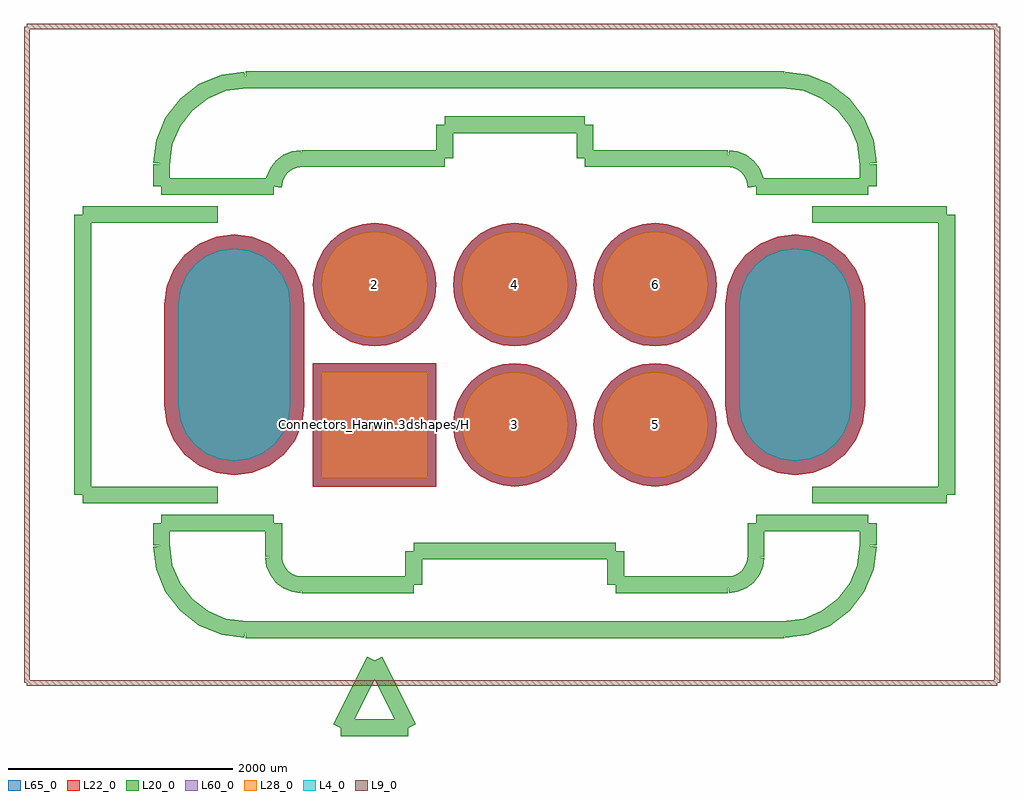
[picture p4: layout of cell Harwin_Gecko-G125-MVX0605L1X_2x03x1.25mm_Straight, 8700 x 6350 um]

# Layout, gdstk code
import gdstk
lib = gdstk.Library(unit=1e-6, precision=1e-09)
def R(c, l, rs):  # rectangles x0, y0, x1, y1
    for r in rs: c.add(gdstk.rectangle(r[:2], r[2:], *l))
def P(c, l, *ps):  # polygons
    for p in ps: c.add(gdstk.Polygon(p, *l))
L4_0 = (4, 0)
L9_0 = (9, 0)
L20_0 = (20, 0)
L22_0 = (22, 0)
L28_0 = (28, 0)
L60_0 = (60, 0)
L65_0 = (65, 0)

harwin_gecko_g125_mvx060 = lib.new_cell('Harwin_Gecko-G125-MVX0605L1X_2x03x1.25mm_Straight')
P(harwin_gecko_g125_mvx060, L4_0, [(3750,-325),(3879.41,-307.963),(4000,-258.013),(4103.553,-178.553),(4183.013,-75),(4232.963,45.59),(4250,175),(4250,1075),(4232.963,1204.41),(4183.013,1325),(4103.553,1428.553),(4000,1508.013),(3879.41,1557.963),(3750,1575),(3620.59,1557.963),(3500,1508.013),(3396.447,1428.553),(3316.987,1325),(3267.037,1204.41),(3250,1075),(3250,175),(3267.037,45.59),(3316.987,-75),(3396.447,-178.553),(3500,-258.013),(3620.59,-307.963)],
  [(-1250,-325),(-1120.59,-307.963),(-1000,-258.013),(-896.447,-178.553),(-816.987,-75),(-767.037,45.59),(-750,175),(-750,1075),(-767.037,1204.41),(-816.987,1325),(-896.447,1428.553),(-1000,1508.013),(-1120.59,1557.963),(-1250,1575),(-1379.41,1557.963),(-1500,1508.013),(-1603.553,1428.553),(-1683.013,1325),(-1732.963,1204.41),(-1750,1075),(-1750,175),(-1732.963,45.59),(-1683.013,-75),(-1603.553,-178.553),(-1500,-258.013),(-1379.41,-307.963)])
R(harwin_gecko_g125_mvx060, L22_0, [(-550,-550,550,550)])
P(harwin_gecko_g125_mvx060, L22_0, [(3750,-450),(3911.762,-428.704),(4062.5,-366.266),(4191.942,-266.942),(4291.266,-137.5),(4353.704,13.238),(4375,175),(4375,1075),(4353.704,1236.762),(4291.266,1387.5),(4191.942,1516.942),(4062.5,1616.266),(3911.762,1678.704),(3750,1700),(3588.238,1678.704),(3437.5,1616.266),(3308.058,1516.942),(3208.734,1387.5),(3146.296,1236.762),(3125,1075),(3125,175),(3146.296,13.238),(3208.734,-137.5),(3308.058,-266.942),(3437.5,-366.266),(3588.238,-428.704)],
  [(-1250,-450),(-1088.238,-428.704),(-937.5,-366.266),(-808.058,-266.942),(-708.734,-137.5),(-646.296,13.238),(-625,175),(-625,1075),(-646.296,1236.762),(-708.734,1387.5),(-808.058,1516.942),(-937.5,1616.266),(-1088.238,1678.704),(-1250,1700),(-1411.762,1678.704),(-1562.5,1616.266),(-1691.942,1516.942),(-1791.266,1387.5),(-1853.704,1236.762),(-1875,1075),(-1875,175),(-1853.704,13.238),(-1791.266,-137.5),(-1691.942,-266.942),(-1562.5,-366.266),(-1411.762,-428.704)],
  [(3050,1250),(3039.432,1357.3),(3008.134,1460.476),(2957.308,1555.564),(2888.909,1638.909),(2805.564,1707.308),(2710.476,1758.134),(2607.3,1789.432),(2500,1800),(2392.7,1789.432),(2289.524,1758.134),(2194.436,1707.308),(2111.091,1638.909),(2042.692,1555.564),(1991.866,1460.476),(1960.568,1357.3),(1950,1250),(1960.568,1142.7),(1991.866,1039.524),(2042.692,944.436),(2111.091,861.091),(2194.436,792.692),(2289.524,741.866),(2392.7,710.568),(2500,700),(2607.3,710.568),(2710.476,741.866),(2805.564,792.692),(2888.909,861.091),(2957.308,944.436),(3008.134,1039.524),(3039.432,1142.7)],
  [(1800,1250),(1789.432,1357.3),(1758.134,1460.476),(1707.308,1555.564),(1638.909,1638.909),(1555.564,1707.308),(1460.476,1758.134),(1357.3,1789.432),(1250,1800),(1142.7,1789.432),(1039.524,1758.134),(944.436,1707.308),(861.091,1638.909),(792.692,1555.564),(741.866,1460.476),(710.568,1357.3),(700,1250),(710.568,1142.7),(741.866,1039.524),(792.692,944.436),(861.091,861.091),(944.436,792.692),(1039.524,741.866),(1142.7,710.568),(1250,700),(1357.3,710.568),(1460.476,741.866),(1555.564,792.692),(1638.909,861.091),(1707.308,944.436),(1758.134,1039.524),(1789.432,1142.7)],
  [(550,1250),(539.432,1357.3),(508.134,1460.476),(457.308,1555.564),(388.909,1638.909),(305.564,1707.308),(210.476,1758.134),(107.3,1789.432),(0,1800),(-107.3,1789.432),(-210.476,1758.134),(-305.564,1707.308),(-388.909,1638.909),(-457.308,1555.564),(-508.134,1460.476),(-539.432,1357.3),(-550,1250),(-539.432,1142.7),(-508.134,1039.524),(-457.308,944.436),(-388.909,861.091),(-305.564,792.692),(-210.476,741.866),(-107.3,710.568),(0,700),(107.3,710.568),(210.476,741.866),(305.564,792.692),(388.909,861.091),(457.308,944.436),(508.134,1039.524),(539.432,1142.7)],
  [(3050,0),(3039.432,107.3),(3008.134,210.476),(2957.308,305.564),(2888.909,388.909),(2805.564,457.308),(2710.476,508.134),(2607.3,539.432),(2500,550),(2392.7,539.432),(2289.524,508.134),(2194.436,457.308),(2111.091,388.909),(2042.692,305.564),(1991.866,210.476),(1960.568,107.3),(1950,0),(1960.568,-107.3),(1991.866,-210.476),(2042.692,-305.564),(2111.091,-388.909),(2194.436,-457.308),(2289.524,-508.134),(2392.7,-539.432),(2500,-550),(2607.3,-539.432),(2710.476,-508.134),(2805.564,-457.308),(2888.909,-388.909),(2957.308,-305.564),(3008.134,-210.476),(3039.432,-107.3)],
  [(1800,0),(1789.432,107.3),(1758.134,210.476),(1707.308,305.564),(1638.909,388.909),(1555.564,457.308),(1460.476,508.134),(1357.3,539.432),(1250,550),(1142.7,539.432),(1039.524,508.134),(944.436,457.308),(861.091,388.909),(792.692,305.564),(741.866,210.476),(710.568,107.3),(700,0),(710.568,-107.3),(741.866,-210.476),(792.692,-305.564),(861.091,-388.909),(944.436,-457.308),(1039.524,-508.134),(1142.7,-539.432),(1250,-550),(1357.3,-539.432),(1460.476,-508.134),(1555.564,-457.308),(1638.909,-388.909),(1707.308,-305.564),(1758.134,-210.476),(1789.432,-107.3)])
R(harwin_gecko_g125_mvx060, L28_0, [(-475,-475,475,475)])
P(harwin_gecko_g125_mvx060, L28_0, [(2975,1250),(2965.873,1342.668),(2938.843,1431.775),(2894.948,1513.896),(2835.876,1585.876),(2763.896,1644.948),(2681.775,1688.843),(2592.668,1715.873),(2500,1725),(2407.332,1715.873),(2318.225,1688.843),(2236.104,1644.948),(2164.124,1585.876),(2105.052,1513.896),(2061.157,1431.775),(2034.127,1342.668),(2025,1250),(2034.127,1157.332),(2061.157,1068.225),(2105.052,986.104),(2164.124,914.124),(2236.104,855.052),(2318.225,811.157),(2407.332,784.127),(2500,775),(2592.668,784.127),(2681.775,811.157),(2763.896,855.052),(2835.876,914.124),(2894.948,986.104),(2938.843,1068.225),(2965.873,1157.332)],
  [(1725,1250),(1715.873,1342.668),(1688.843,1431.775),(1644.948,1513.896),(1585.876,1585.876),(1513.896,1644.948),(1431.775,1688.843),(1342.668,1715.873),(1250,1725),(1157.332,1715.873),(1068.225,1688.843),(986.104,1644.948),(914.124,1585.876),(855.052,1513.896),(811.157,1431.775),(784.127,1342.668),(775,1250),(784.127,1157.332),(811.157,1068.225),(855.052,986.104),(914.124,914.124),(986.104,855.052),(1068.225,811.157),(1157.332,784.127),(1250,775),(1342.668,784.127),(1431.775,811.157),(1513.896,855.052),(1585.876,914.124),(1644.948,986.104),(1688.843,1068.225),(1715.873,1157.332)],
  [(475,1250),(465.873,1342.668),(438.843,1431.775),(394.948,1513.896),(335.876,1585.876),(263.896,1644.948),(181.775,1688.843),(92.668,1715.873),(0,1725),(-92.668,1715.873),(-181.775,1688.843),(-263.896,1644.948),(-335.876,1585.876),(-394.948,1513.896),(-438.843,1431.775),(-465.873,1342.668),(-475,1250),(-465.873,1157.332),(-438.843,1068.225),(-394.948,986.104),(-335.876,914.124),(-263.896,855.052),(-181.775,811.157),(-92.668,784.127),(0,775),(92.668,784.127),(181.775,811.157),(263.896,855.052),(335.876,914.124),(394.948,986.104),(438.843,1068.225),(465.873,1157.332)],
  [(2975,0),(2965.873,92.668),(2938.843,181.775),(2894.948,263.896),(2835.876,335.876),(2763.896,394.948),(2681.775,438.843),(2592.668,465.873),(2500,475),(2407.332,465.873),(2318.225,438.843),(2236.104,394.948),(2164.124,335.876),(2105.052,263.896),(2061.157,181.775),(2034.127,92.668),(2025,0),(2034.127,-92.668),(2061.157,-181.775),(2105.052,-263.896),(2164.124,-335.876),(2236.104,-394.948),(2318.225,-438.843),(2407.332,-465.873),(2500,-475),(2592.668,-465.873),(2681.775,-438.843),(2763.896,-394.948),(2835.876,-335.876),(2894.948,-263.896),(2938.843,-181.775),(2965.873,-92.668)],
  [(1725,0),(1715.873,92.668),(1688.843,181.775),(1644.948,263.896),(1585.876,335.876),(1513.896,394.948),(1431.775,438.843),(1342.668,465.873),(1250,475),(1157.332,465.873),(1068.225,438.843),(986.104,394.948),(914.124,335.876),(855.052,263.896),(811.157,181.775),(784.127,92.668),(775,0),(784.127,-92.668),(811.157,-181.775),(855.052,-263.896),(914.124,-335.876),(986.104,-394.948),(1068.225,-438.843),(1157.332,-465.873),(1250,-475),(1342.668,-465.873),(1431.775,-438.843),(1513.896,-394.948),(1585.876,-335.876),(1644.948,-263.896),(1688.843,-181.775),(1715.873,-92.668)])
R(harwin_gecko_g125_mvx060, L60_0, [(-475,-475,475,475)])
P(harwin_gecko_g125_mvx060, L60_0, [(2975,1250),(2965.873,1342.668),(2938.843,1431.775),(2894.948,1513.896),(2835.876,1585.876),(2763.896,1644.948),(2681.775,1688.843),(2592.668,1715.873),(2500,1725),(2407.332,1715.873),(2318.225,1688.843),(2236.104,1644.948),(2164.124,1585.876),(2105.052,1513.896),(2061.157,1431.775),(2034.127,1342.668),(2025,1250),(2034.127,1157.332),(2061.157,1068.225),(2105.052,986.104),(2164.124,914.124),(2236.104,855.052),(2318.225,811.157),(2407.332,784.127),(2500,775),(2592.668,784.127),(2681.775,811.157),(2763.896,855.052),(2835.876,914.124),(2894.948,986.104),(2938.843,1068.225),(2965.873,1157.332)],
  [(1725,1250),(1715.873,1342.668),(1688.843,1431.775),(1644.948,1513.896),(1585.876,1585.876),(1513.896,1644.948),(1431.775,1688.843),(1342.668,1715.873),(1250,1725),(1157.332,1715.873),(1068.225,1688.843),(986.104,1644.948),(914.124,1585.876),(855.052,1513.896),(811.157,1431.775),(784.127,1342.668),(775,1250),(784.127,1157.332),(811.157,1068.225),(855.052,986.104),(914.124,914.124),(986.104,855.052),(1068.225,811.157),(1157.332,784.127),(1250,775),(1342.668,784.127),(1431.775,811.157),(1513.896,855.052),(1585.876,914.124),(1644.948,986.104),(1688.843,1068.225),(1715.873,1157.332)],
  [(475,1250),(465.873,1342.668),(438.843,1431.775),(394.948,1513.896),(335.876,1585.876),(263.896,1644.948),(181.775,1688.843),(92.668,1715.873),(0,1725),(-92.668,1715.873),(-181.775,1688.843),(-263.896,1644.948),(-335.876,1585.876),(-394.948,1513.896),(-438.843,1431.775),(-465.873,1342.668),(-475,1250),(-465.873,1157.332),(-438.843,1068.225),(-394.948,986.104),(-335.876,914.124),(-263.896,855.052),(-181.775,811.157),(-92.668,784.127),(0,775),(92.668,784.127),(181.775,811.157),(263.896,855.052),(335.876,914.124),(394.948,986.104),(438.843,1068.225),(465.873,1157.332)],
  [(2975,0),(2965.873,92.668),(2938.843,181.775),(2894.948,263.896),(2835.876,335.876),(2763.896,394.948),(2681.775,438.843),(2592.668,465.873),(2500,475),(2407.332,465.873),(2318.225,438.843),(2236.104,394.948),(2164.124,335.876),(2105.052,263.896),(2061.157,181.775),(2034.127,92.668),(2025,0),(2034.127,-92.668),(2061.157,-181.775),(2105.052,-263.896),(2164.124,-335.876),(2236.104,-394.948),(2318.225,-438.843),(2407.332,-465.873),(2500,-475),(2592.668,-465.873),(2681.775,-438.843),(2763.896,-394.948),(2835.876,-335.876),(2894.948,-263.896),(2938.843,-181.775),(2965.873,-92.668)],
  [(1725,0),(1715.873,92.668),(1688.843,181.775),(1644.948,263.896),(1585.876,335.876),(1513.896,394.948),(1431.775,438.843),(1342.668,465.873),(1250,475),(1157.332,465.873),(1068.225,438.843),(986.104,394.948),(914.124,335.876),(855.052,263.896),(811.157,181.775),(784.127,92.668),(775,0),(784.127,-92.668),(811.157,-181.775),(855.052,-263.896),(914.124,-335.876),(986.104,-394.948),(1068.225,-438.843),(1157.332,-465.873),(1250,-475),(1342.668,-465.873),(1431.775,-438.843),(1513.896,-394.948),(1585.876,-335.876),(1644.948,-263.896),(1688.843,-181.775),(1715.873,-92.668)])
R(harwin_gecko_g125_mvx060, L65_0, [(-550,-550,550,550)])
P(harwin_gecko_g125_mvx060, L65_0, [(3750,-450),(3911.762,-428.704),(4062.5,-366.266),(4191.942,-266.942),(4291.266,-137.5),(4353.704,13.238),(4375,175),(4375,1075),(4353.704,1236.762),(4291.266,1387.5),(4191.942,1516.942),(4062.5,1616.266),(3911.762,1678.704),(3750,1700),(3588.238,1678.704),(3437.5,1616.266),(3308.058,1516.942),(3208.734,1387.5),(3146.296,1236.762),(3125,1075),(3125,175),(3146.296,13.238),(3208.734,-137.5),(3308.058,-266.942),(3437.5,-366.266),(3588.238,-428.704)],
  [(-1250,-450),(-1088.238,-428.704),(-937.5,-366.266),(-808.058,-266.942),(-708.734,-137.5),(-646.296,13.238),(-625,175),(-625,1075),(-646.296,1236.762),(-708.734,1387.5),(-808.058,1516.942),(-937.5,1616.266),(-1088.238,1678.704),(-1250,1700),(-1411.762,1678.704),(-1562.5,1616.266),(-1691.942,1516.942),(-1791.266,1387.5),(-1853.704,1236.762),(-1875,1075),(-1875,175),(-1853.704,13.238),(-1791.266,-137.5),(-1691.942,-266.942),(-1562.5,-366.266),(-1411.762,-428.704)],
  [(3050,1250),(3039.432,1357.3),(3008.134,1460.476),(2957.308,1555.564),(2888.909,1638.909),(2805.564,1707.308),(2710.476,1758.134),(2607.3,1789.432),(2500,1800),(2392.7,1789.432),(2289.524,1758.134),(2194.436,1707.308),(2111.091,1638.909),(2042.692,1555.564),(1991.866,1460.476),(1960.568,1357.3),(1950,1250),(1960.568,1142.7),(1991.866,1039.524),(2042.692,944.436),(2111.091,861.091),(2194.436,792.692),(2289.524,741.866),(2392.7,710.568),(2500,700),(2607.3,710.568),(2710.476,741.866),(2805.564,792.692),(2888.909,861.091),(2957.308,944.436),(3008.134,1039.524),(3039.432,1142.7)],
  [(1800,1250),(1789.432,1357.3),(1758.134,1460.476),(1707.308,1555.564),(1638.909,1638.909),(1555.564,1707.308),(1460.476,1758.134),(1357.3,1789.432),(1250,1800),(1142.7,1789.432),(1039.524,1758.134),(944.436,1707.308),(861.091,1638.909),(792.692,1555.564),(741.866,1460.476),(710.568,1357.3),(700,1250),(710.568,1142.7),(741.866,1039.524),(792.692,944.436),(861.091,861.091),(944.436,792.692),(1039.524,741.866),(1142.7,710.568),(1250,700),(1357.3,710.568),(1460.476,741.866),(1555.564,792.692),(1638.909,861.091),(1707.308,944.436),(1758.134,1039.524),(1789.432,1142.7)],
  [(550,1250),(539.432,1357.3),(508.134,1460.476),(457.308,1555.564),(388.909,1638.909),(305.564,1707.308),(210.476,1758.134),(107.3,1789.432),(0,1800),(-107.3,1789.432),(-210.476,1758.134),(-305.564,1707.308),(-388.909,1638.909),(-457.308,1555.564),(-508.134,1460.476),(-539.432,1357.3),(-550,1250),(-539.432,1142.7),(-508.134,1039.524),(-457.308,944.436),(-388.909,861.091),(-305.564,792.692),(-210.476,741.866),(-107.3,710.568),(0,700),(107.3,710.568),(210.476,741.866),(305.564,792.692),(388.909,861.091),(457.308,944.436),(508.134,1039.524),(539.432,1142.7)],
  [(3050,0),(3039.432,107.3),(3008.134,210.476),(2957.308,305.564),(2888.909,388.909),(2805.564,457.308),(2710.476,508.134),(2607.3,539.432),(2500,550),(2392.7,539.432),(2289.524,508.134),(2194.436,457.308),(2111.091,388.909),(2042.692,305.564),(1991.866,210.476),(1960.568,107.3),(1950,0),(1960.568,-107.3),(1991.866,-210.476),(2042.692,-305.564),(2111.091,-388.909),(2194.436,-457.308),(2289.524,-508.134),(2392.7,-539.432),(2500,-550),(2607.3,-539.432),(2710.476,-508.134),(2805.564,-457.308),(2888.909,-388.909),(2957.308,-305.564),(3008.134,-210.476),(3039.432,-107.3)],
  [(1800,0),(1789.432,107.3),(1758.134,210.476),(1707.308,305.564),(1638.909,388.909),(1555.564,457.308),(1460.476,508.134),(1357.3,539.432),(1250,550),(1142.7,539.432),(1039.524,508.134),(944.436,457.308),(861.091,388.909),(792.692,305.564),(741.866,210.476),(710.568,107.3),(700,0),(710.568,-107.3),(741.866,-210.476),(792.692,-305.564),(861.091,-388.909),(944.436,-457.308),(1039.524,-508.134),(1142.7,-539.432),(1250,-550),(1357.3,-539.432),(1460.476,-508.134),(1555.564,-457.308),(1638.909,-388.909),(1707.308,-305.564),(1758.134,-210.476),(1789.432,-107.3)])
harwin_gecko_g125_mvx060.add(gdstk.FlexPath([(300,-2700),(0,-2100)], 149.998, ends="flush", simple_path=True, layer=20, datatype=0))  # L20_0
harwin_gecko_g125_mvx060.add(gdstk.FlexPath([(-300,-2700),(300,-2700)], 149.998, ends="flush", simple_path=True, layer=20, datatype=0))  # L20_0
harwin_gecko_g125_mvx060.add(gdstk.FlexPath([(0,-2100),(-300,-2700)], 149.998, ends="flush", simple_path=True, layer=20, datatype=0))  # L20_0
harwin_gecko_g125_mvx060.add(gdstk.FlexPath([(5550,3550),(-3100,3550)], 50, ends="flush", simple_path=True, layer=9, datatype=0))  # L9_0
harwin_gecko_g125_mvx060.add(gdstk.FlexPath([(5550,-2300),(5550,3550)], 50, ends="flush", simple_path=True, layer=9, datatype=0))  # L9_0
harwin_gecko_g125_mvx060.add(gdstk.FlexPath([(-3100,-2300),(5550,-2300)], 50, ends="flush", simple_path=True, layer=9, datatype=0))  # L9_0
harwin_gecko_g125_mvx060.add(gdstk.FlexPath([(-3100,3550),(-3100,-2300)], 50, ends="flush", simple_path=True, layer=9, datatype=0))  # L9_0
harwin_gecko_g125_mvx060.add(gdstk.FlexPath([(5100,-625),(3900,-625)], 149.998, ends="flush", simple_path=True, layer=20, datatype=0))  # L20_0
harwin_gecko_g125_mvx060.add(gdstk.FlexPath([(5100,1875),(5100,-625)], 149.998, ends="flush", simple_path=True, layer=20, datatype=0))  # L20_0
harwin_gecko_g125_mvx060.add(gdstk.FlexPath([(3900,1875),(5100,1875)], 149.998, ends="flush", simple_path=True, layer=20, datatype=0))  # L20_0
harwin_gecko_g125_mvx060.add(gdstk.FlexPath([(-2600,-625),(-1400,-625)], 149.998, ends="flush", simple_path=True, layer=20, datatype=0))  # L20_0
harwin_gecko_g125_mvx060.add(gdstk.FlexPath([(-2600,1875),(-2600,-625)], 149.998, ends="flush", simple_path=True, layer=20, datatype=0))  # L20_0
harwin_gecko_g125_mvx060.add(gdstk.FlexPath([(-1400,1875),(-2600,1875)], 149.998, ends="flush", simple_path=True, layer=20, datatype=0))  # L20_0
harwin_gecko_g125_mvx060.add(gdstk.FlexPath([(3400,-1175),(3400,-875)], 149.998, ends="flush", simple_path=True, layer=20, datatype=0))  # L20_0
harwin_gecko_g125_mvx060.add(gdstk.FlexPath([(-900,-1175),(-900,-875)], 149.998, ends="flush", simple_path=True, layer=20, datatype=0))  # L20_0
harwin_gecko_g125_mvx060.add(gdstk.FlexPath([(-900,-875),(-900,-875)], 149.998, ends="flush", simple_path=True, layer=20, datatype=0))  # L20_0
harwin_gecko_g125_mvx060.add(gdstk.FlexPath([(-1900,-875),(-900,-875)], 149.998, ends="flush", simple_path=True, layer=20, datatype=0))  # L20_0
harwin_gecko_g125_mvx060.add(gdstk.FlexPath([(-1900,-1075),(-1900,-875)], 149.998, ends="flush", simple_path=True, layer=20, datatype=0))  # L20_0
harwin_gecko_g125_mvx060.add(gdstk.FlexPath([(3400,-875),(3400,-875)], 149.998, ends="flush", simple_path=True, layer=20, datatype=0))  # L20_0
harwin_gecko_g125_mvx060.add(gdstk.FlexPath([(4400,-875),(3400,-875)], 149.998, ends="flush", simple_path=True, layer=20, datatype=0))  # L20_0
harwin_gecko_g125_mvx060.add(gdstk.FlexPath([(4400,-1075),(4400,-875)], 149.998, ends="flush", simple_path=True, layer=20, datatype=0))  # L20_0
harwin_gecko_g125_mvx060.add(gdstk.FlexPath([(3400,2125),(3400,2125)], 149.998, ends="flush", simple_path=True, layer=20, datatype=0))  # L20_0
harwin_gecko_g125_mvx060.add(gdstk.FlexPath([(4400,2125),(3400,2125)], 149.998, ends="flush", simple_path=True, layer=20, datatype=0))  # L20_0
harwin_gecko_g125_mvx060.add(gdstk.FlexPath([(4400,2325),(4400,2125)], 149.998, ends="flush", simple_path=True, layer=20, datatype=0))  # L20_0
harwin_gecko_g125_mvx060.add(gdstk.FlexPath([(-900,2125),(-900,2125)], 149.998, ends="flush", simple_path=True, layer=20, datatype=0))  # L20_0
harwin_gecko_g125_mvx060.add(gdstk.FlexPath([(-1900,2125),(-900,2125)], 149.998, ends="flush", simple_path=True, layer=20, datatype=0))  # L20_0
harwin_gecko_g125_mvx060.add(gdstk.FlexPath([(-1900,2325),(-1900,2125)], 149.998, ends="flush", simple_path=True, layer=20, datatype=0))  # L20_0
harwin_gecko_g125_mvx060.add(gdstk.FlexPath([(1875,2375),(3150,2375)], 149.998, ends="flush", simple_path=True, layer=20, datatype=0))  # L20_0
harwin_gecko_g125_mvx060.add(gdstk.FlexPath([(1875,2675),(1875,2375)], 149.998, ends="flush", simple_path=True, layer=20, datatype=0))  # L20_0
harwin_gecko_g125_mvx060.add(gdstk.FlexPath([(625,2675),(1875,2675)], 149.998, ends="flush", simple_path=True, layer=20, datatype=0))  # L20_0
harwin_gecko_g125_mvx060.add(gdstk.FlexPath([(625,2375),(625,2675)], 149.998, ends="flush", simple_path=True, layer=20, datatype=0))  # L20_0
harwin_gecko_g125_mvx060.add(gdstk.FlexPath([(-650,2375),(625,2375)], 149.998, ends="flush", simple_path=True, layer=20, datatype=0))  # L20_0
harwin_gecko_g125_mvx060.add(gdstk.FlexPath([(2150,-1425),(3150,-1425)], 149.998, ends="flush", simple_path=True, layer=20, datatype=0))  # L20_0
harwin_gecko_g125_mvx060.add(gdstk.FlexPath([(2150,-1125),(2150,-1425)], 149.998, ends="flush", simple_path=True, layer=20, datatype=0))  # L20_0
harwin_gecko_g125_mvx060.add(gdstk.FlexPath([(350,-1125),(2150,-1125)], 149.998, ends="flush", simple_path=True, layer=20, datatype=0))  # L20_0
harwin_gecko_g125_mvx060.add(gdstk.FlexPath([(350,-1425),(350,-1125)], 149.998, ends="flush", simple_path=True, layer=20, datatype=0))  # L20_0
harwin_gecko_g125_mvx060.add(gdstk.FlexPath([(-650,-1425),(350,-1425)], 149.998, ends="flush", simple_path=True, layer=20, datatype=0))  # L20_0
harwin_gecko_g125_mvx060.add(gdstk.FlexPath([(-1150,-1825),(3650,-1825)], 149.998, ends="flush", simple_path=True, layer=20, datatype=0))  # L20_0
harwin_gecko_g125_mvx060.add(gdstk.FlexPath([(-1150,3075),(3650,3075)], 149.998, ends="flush", simple_path=True, layer=20, datatype=0))  # L20_0
harwin_gecko_g125_mvx060.add(gdstk.FlexPath([(-900,-1175),(-891.481,-1239.705),(-866.506,-1300),(-826.777,-1351.777),(-775,-1391.506),(-714.705,-1416.481),(-650,-1425)], 149.998, ends="flush", simple_path=True, layer=20, datatype=0))  # L20_0
harwin_gecko_g125_mvx060.add(gdstk.FlexPath([(3150,-1425),(3214.705,-1416.481),(3275,-1391.506),(3326.777,-1351.777),(3366.506,-1300),(3391.481,-1239.705),(3400,-1175)], 149.998, ends="flush", simple_path=True, layer=20, datatype=0))  # L20_0
harwin_gecko_g125_mvx060.add(gdstk.FlexPath([(3400,2125),(3391.481,2189.705),(3366.506,2250),(3326.777,2301.777),(3275,2341.506),(3214.705,2366.481),(3150,2375)], 149.998, ends="flush", simple_path=True, layer=20, datatype=0))  # L20_0
harwin_gecko_g125_mvx060.add(gdstk.FlexPath([(-650,2375),(-714.705,2366.481),(-775,2341.506),(-826.777,2301.777),(-866.506,2250),(-891.481,2189.705),(-900,2125)], 149.998, ends="flush", simple_path=True, layer=20, datatype=0))  # L20_0
harwin_gecko_g125_mvx060.add(gdstk.FlexPath([(-1900,-1075),(-1874.444,-1269.114),(-1799.519,-1450),(-1680.33,-1605.33),(-1525,-1724.519),(-1344.114,-1799.444),(-1150,-1825)], 149.998, ends="flush", simple_path=True, layer=20, datatype=0))  # L20_0
harwin_gecko_g125_mvx060.add(gdstk.FlexPath([(3650,-1825),(3844.114,-1799.444),(4025,-1724.519),(4180.33,-1605.33),(4299.519,-1450),(4374.444,-1269.114),(4400,-1075)], 149.998, ends="flush", simple_path=True, layer=20, datatype=0))  # L20_0
harwin_gecko_g125_mvx060.add(gdstk.FlexPath([(4400,2325),(4374.444,2519.114),(4299.519,2700),(4180.33,2855.33),(4025,2974.519),(3844.114,3049.444),(3650,3075)], 149.998, ends="flush", simple_path=True, layer=20, datatype=0))  # L20_0
harwin_gecko_g125_mvx060.add(gdstk.FlexPath([(-1150,3075),(-1344.114,3049.444),(-1525,2974.519),(-1680.33,2855.33),(-1799.519,2700),(-1874.444,2519.114),(-1900,2325)], 149.998, ends="flush", simple_path=True, layer=20, datatype=0))  # L20_0
harwin_gecko_g125_mvx060.add(gdstk.Label('Connectors_Harwin.3dshapes/Harwin_Gecko-G125-MVX0605L1X_2x03x1.25mm_Straight.wrl', (0,0), layer=12, texttype=0))
harwin_gecko_g125_mvx060.add(gdstk.Label('6', (2500,1250), layer=28, texttype=0))
harwin_gecko_g125_mvx060.add(gdstk.Label('4', (1250,1250), layer=28, texttype=0))
harwin_gecko_g125_mvx060.add(gdstk.Label('2', (0,1250), layer=28, texttype=0))
harwin_gecko_g125_mvx060.add(gdstk.Label('5', (2500,0), layer=28, texttype=0))
harwin_gecko_g125_mvx060.add(gdstk.Label('3', (1250,0), layer=28, texttype=0))
harwin_gecko_g125_mvx060.add(gdstk.Label('1', (0,0), layer=28, texttype=0))
harwin_gecko_g125_mvx060.add(gdstk.Label('type', (1250,4300), layer=9, texttype=0))
harwin_gecko_g125_mvx060.add(gdstk.Label('devicename', (1250,-3500), layer=9, texttype=0))

lib.write_gds('Harwin_Gecko-G125-MVX0605L1X_2x03x1.25mm_Straight.gds')
